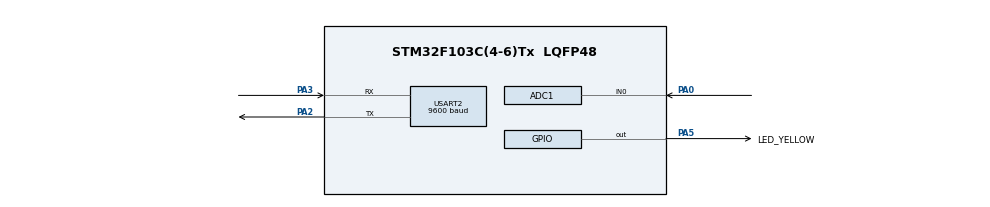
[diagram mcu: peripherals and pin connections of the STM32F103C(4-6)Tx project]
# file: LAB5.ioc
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ADC1.Channel-0\#ChannelRegularConversion=ADC_CHANNEL_0
ADC1.ContinuousConvMode=ENABLE
ADC1.NbrOfConversionFlag=1
ADC1.Rank-0\#ChannelRegularConversion=1
ADC1.SamplingTime-0\#ChannelRegularConversion=ADC_SAMPLETIME_1CYCLE_5
ADC1.master=1
Mcu.Family=STM32F1
Mcu.Name=STM32F103C(4-6)Tx
Mcu.Package=LQFP48
NVIC.PriorityGroup=NVIC_PRIORITYGROUP_4
NVIC.TIM2_IRQn=true\:0\:0\:false\:false\:true\:true\:true
NVIC.USART2_IRQn=true\:0\:0\:false\:false\:true\:true\:true
PA0-WKUP.Signal=ADCx_IN0
PA2.Mode=Asynchronous
PA2.Signal=USART2_TX
PA3.Mode=Asynchronous
PA3.Signal=USART2_RX
PA5.GPIO_Label=LED_YELLOW
PA5.Signal=GPIO_Output
ProjectManager.HeapSize=0x200
ProjectManager.StackSize=0x400
ProjectManager.TargetToolchain=STM32CubeIDE
RCC.APB1Freq_Value=8000000
RCC.APB2Freq_Value=8000000
SH.ADCx_IN0.0=ADC1_IN0,IN0
TIM2.Period=9
TIM2.Prescaler=7999
USART2.BaudRate=9600
USART2.VirtualMode=VM_ASYNC
VP_SYS_VS_ND.Mode=No_Debug
VP_TIM2_VS_ClockSourceINT.Mode=Internal
board=custom

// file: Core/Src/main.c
/* USER CODE BEGIN Header */
/**
  ******************************************************************************
  * @file           : main.c
  * @brief          : Main program body
  ******************************************************************************
  * @attention
  *
  * <h2><center>&copy; Copyright (c) 2024 STMicroelectronics.
  * All rights reserved.</center></h2>
  *
  * This software component is licensed by ST under BSD 3-Clause license,
  * the "License"; You may not use this file except in compliance with the
  * License. You may obtain a copy of the License at:
  *                        opensource.org/licenses/BSD-3-Clause
  *
  ******************************************************************************
  */
/* USER CODE END Header */
#include "main.h"

/* USER CODE BEGIN Includes */
#include "global.h"
/* USER CODE END Includes */

ADC_HandleTypeDef hadc1;

TIM_HandleTypeDef htim2;

UART_HandleTypeDef huart2;

/* USER CODE BEGIN PV */

uint8_t backspaceChar = '\b';
uint8_t msg[] = "Welcome to UART program\r\n";

/* USER CODE END PV */

void SystemClock_Config(void);
static void MX_GPIO_Init(void);
static void MX_ADC1_Init(void);
static void MX_USART2_UART_Init(void);
static void MX_TIM2_Init(void);

/* USER CODE BEGIN 0 */
void HAL_UART_RxCpltCallback(UART_HandleTypeDef * huart) {
	if (huart->Instance == USART2) {
		//HAL_UART_Transmit(&huart2, &temp, 1, 50);
//		buffer[index_buffer++] = temp;
//		if (index_buffer == 30) index_buffer = 0;
		buffer_flag = 1;
		HAL_UART_Receive_IT(&huart2, &temp, 1);
	}
}
/* USER CODE END 0 */

int main(void)
{

  /* MCU Configuration--------------------------------------------------------*/

  /* Reset of all peripherals, Initializes the Flash interface and the Systick. */
  HAL_Init();

  /* Configure the system clock */
  SystemClock_Config();

  /* Initialize all configured peripherals */
  MX_GPIO_Init();
  MX_ADC1_Init();
  MX_USART2_UART_Init();
  MX_TIM2_Init();
  HAL_TIM_Base_Start_IT(&htim2);
  /* USER CODE BEGIN 2 */
  HAL_ADC_Start(&hadc1);

//  HAL_Delay(50);
//  DisplayChar(&huart2, backspaceChar);
  DisplayMessage(&huart2, msg);

  HAL_UART_Receive_IT(&huart2, &temp, 1);
  /* USER CODE END 2 */

  /* Infinite loop */
  /* USER CODE BEGIN WHILE */
  setTimer(0, 500);
  while (1)
  {
	  if (timer_flag[0] == 1) {
		  HAL_GPIO_TogglePin(LED_YELLOW_GPIO_Port, LED_YELLOW_Pin);
		  setTimer(0, 500);
	  }
	  if (buffer_flag == 1) {
		  command_parser_fsm();
		  buffer_flag = 0;
	  }
	  uart_communication_fsm();
    /* USER CODE END WHILE */

  }
}

void SystemClock_Config(void)
{
  RCC_OscInitTypeDef RCC_OscInitStruct = {0};
  RCC_ClkInitTypeDef RCC_ClkInitStruct = {0};
  RCC_PeriphCLKInitTypeDef PeriphClkInit = {0};

  /** Initializes the RCC Oscillators according to the specified parameters
  * in the RCC_OscInitTypeDef structure.
  */
  RCC_OscInitStruct.OscillatorType = RCC_OSCILLATORTYPE_HSI;
  RCC_OscInitStruct.HSIState = RCC_HSI_ON;
  RCC_OscInitStruct.HSICalibrationValue = RCC_HSICALIBRATION_DEFAULT;
  RCC_OscInitStruct.PLL.PLLState = RCC_PLL_NONE;
  if (HAL_RCC_OscConfig(&RCC_OscInitStruct) != HAL_OK)
  {
    Error_Handler();
  }
  /** Initializes the CPU, AHB and APB buses clocks
  */
  RCC_ClkInitStruct.ClockType = RCC_CLOCKTYPE_HCLK|RCC_CLOCKTYPE_SYSCLK
                              |RCC_CLOCKTYPE_PCLK1|RCC_CLOCKTYPE_PCLK2;
  RCC_ClkInitStruct.SYSCLKSource = RCC_SYSCLKSOURCE_HSI;
  RCC_ClkInitStruct.AHBCLKDivider = RCC_SYSCLK_DIV1;
  RCC_ClkInitStruct.APB1CLKDivider = RCC_HCLK_DIV1;
  RCC_ClkInitStruct.APB2CLKDivider = RCC_HCLK_DIV1;

  if (HAL_RCC_ClockConfig(&RCC_ClkInitStruct, FLASH_LATENCY_0) != HAL_OK)
  {
    Error_Handler();
  }
  PeriphClkInit.PeriphClockSelection = RCC_PERIPHCLK_ADC;
  PeriphClkInit.AdcClockSelection = RCC_ADCPCLK2_DIV2;
  if (HAL_RCCEx_PeriphCLKConfig(&PeriphClkInit) != HAL_OK)
  {
    Error_Handler();
  }
}

static void MX_ADC1_Init(void)
{

  ADC_ChannelConfTypeDef sConfig = {0};

  /** Common config
  */
  hadc1.Instance = ADC1;
  hadc1.Init.ScanConvMode = ADC_SCAN_DISABLE;
  hadc1.Init.ContinuousConvMode = ENABLE;
  hadc1.Init.DiscontinuousConvMode = DISABLE;
  hadc1.Init.ExternalTrigConv = ADC_SOFTWARE_START;
  hadc1.Init.DataAlign = ADC_DATAALIGN_RIGHT;
  hadc1.Init.NbrOfConversion = 1;
  if (HAL_ADC_Init(&hadc1) != HAL_OK)
  {
    Error_Handler();
  }
  /** Configure Regular Channel
  */
  sConfig.Channel = ADC_CHANNEL_0;
  sConfig.Rank = ADC_REGULAR_RANK_1;
  sConfig.SamplingTime = ADC_SAMPLETIME_1CYCLE_5;
  if (HAL_ADC_ConfigChannel(&hadc1, &sConfig) != HAL_OK)
  {
    Error_Handler();
  }

}

static void MX_TIM2_Init(void)
{

  TIM_ClockConfigTypeDef sClockSourceConfig = {0};
  TIM_MasterConfigTypeDef sMasterConfig = {0};

  htim2.Instance = TIM2;
  htim2.Init.Prescaler = 7999;
  htim2.Init.CounterMode = TIM_COUNTERMODE_UP;
  htim2.Init.Period = 9;
  htim2.Init.ClockDivision = TIM_CLOCKDIVISION_DIV1;
  htim2.Init.AutoReloadPreload = TIM_AUTORELOAD_PRELOAD_DISABLE;
  if (HAL_TIM_Base_Init(&htim2) != HAL_OK)
  {
    Error_Handler();
  }
  sClockSourceConfig.ClockSource = TIM_CLOCKSOURCE_INTERNAL;
  if (HAL_TIM_ConfigClockSource(&htim2, &sClockSourceConfig) != HAL_OK)
  {
    Error_Handler();
  }
  sMasterConfig.MasterOutputTrigger = TIM_TRGO_RESET;
  sMasterConfig.MasterSlaveMode = TIM_MASTERSLAVEMODE_DISABLE;
  if (HAL_TIMEx_MasterConfigSynchronization(&htim2, &sMasterConfig) != HAL_OK)
  {
    Error_Handler();
  }

}

static void MX_USART2_UART_Init(void)
{

  huart2.Instance = USART2;
  huart2.Init.BaudRate = 9600;
  huart2.Init.WordLength = UART_WORDLENGTH_8B;
  huart2.Init.StopBits = UART_STOPBITS_1;
  huart2.Init.Parity = UART_PARITY_NONE;
  huart2.Init.Mode = UART_MODE_TX_RX;
  huart2.Init.HwFlowCtl = UART_HWCONTROL_NONE;
  huart2.Init.OverSampling = UART_OVERSAMPLING_16;
  if (HAL_UART_Init(&huart2) != HAL_OK)
  {
    Error_Handler();
  }

}

static void MX_GPIO_Init(void)
{
  GPIO_InitTypeDef GPIO_InitStruct = {0};

  /* GPIO Ports Clock Enable */
  __HAL_RCC_GPIOA_CLK_ENABLE();

  /*Configure GPIO pin Output Level */
  HAL_GPIO_WritePin(LED_YELLOW_GPIO_Port, LED_YELLOW_Pin, GPIO_PIN_RESET);

  /*Configure GPIO pin : LED_YELLOW_Pin */
  GPIO_InitStruct.Pin = LED_YELLOW_Pin;
  GPIO_InitStruct.Mode = GPIO_MODE_OUTPUT_PP;
  GPIO_InitStruct.Pull = GPIO_NOPULL;
  GPIO_InitStruct.Speed = GPIO_SPEED_FREQ_LOW;
  HAL_GPIO_Init(LED_YELLOW_GPIO_Port, &GPIO_InitStruct);

}

/* USER CODE BEGIN 4 */
void HAL_TIM_PeriodElapsedCallback(TIM_HandleTypeDef *htim) {
	timerRun();
}
/* USER CODE END 4 */

void Error_Handler(void)
{
  __disable_irq();
  while (1)
  {
  }
}

/************************ (C) COPYRIGHT STMicroelectronics *****END OF FILE****/
